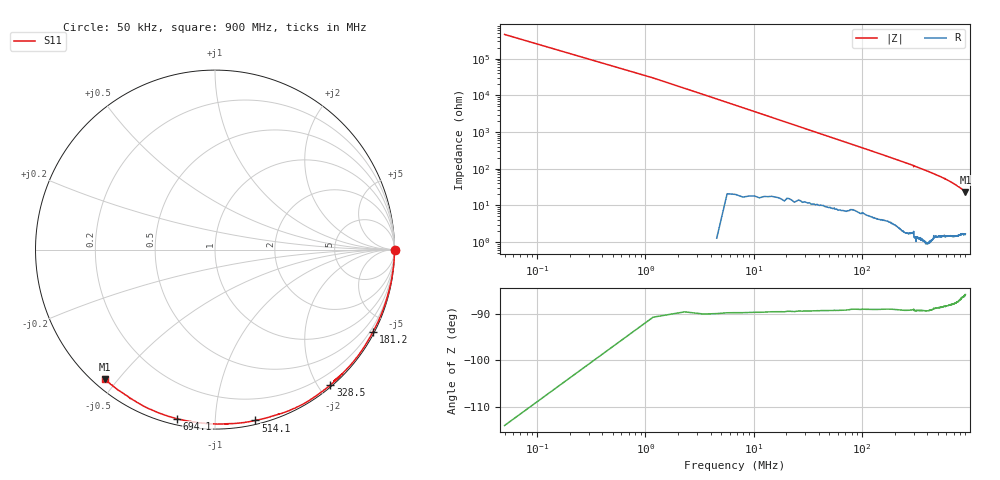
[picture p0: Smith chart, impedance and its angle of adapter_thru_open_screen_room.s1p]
! NanoVNA-App
! Date: 2026-10-30 14:18:24
! Start: 50kHz Stop: 900MHz Points: 801
! S-Parameter data: F S11
# Hz S RI R 50
!  Frequency  S11_Real  S11_Imag
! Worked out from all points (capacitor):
!   801 points, 50 kHz to 900 MHz, reference 50 ohm
!   read as one part to ground: C = 4.36 pF near 4.55 MHz
!   lowest |Z| = 23.3 ohm at 900 MHz (marker M1)
!   S11 on the Smith chart (normalised r, x): 50 kHz: open; 181.2 MHz: 0.07, -4.10; 328.5 MHz: 0.03, -2.17; 514.1 MHz: 0.03, -1.26; 694.1 MHz: 0.03, -0.80; 900 MHz: 0.03, -0.46
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50000  1 -0.000199
4549750  0.9999 -0.0125
2.70485e7  0.9966 -0.0729
5.629688e7  0.9868 -0.1502
1.125438e8  0.9511 -0.2933
1.44042e8  0.9226 -0.3701
1.811649e8  0.8807 -0.4569
2.250375e8  0.8229 -0.5545
2.745348e8  0.7445 -0.6549
2.936587e8  0.7102 -0.6896
2.959086e8  0.7064 -0.6936
3.037831e8  0.6919 -0.7108
3.06033e8  0.6875 -0.715
3.285318e8  0.6428 -0.7536
3.375312e8  0.6252 -0.7685
3.881534e8  0.5198 -0.8437
4.129021e8  0.4657 -0.8737
4.50025e8  0.3772 -0.9101
5.141464e8  0.2253 -0.9518
5.625188e8  0.1073 -0.9688
5.838926e8  0.0727 -0.9714
6.165158e8  -0.0236 -0.9707
6.750125e8  -0.1652 -0.9526
6.941364e8  -0.2107 -0.9429
7.436337e8  -0.3231 -0.9057
7.875062e8  -0.414 -0.8629
8.223793e8  -0.4797 -0.8233
9e8  -0.6111 -0.7235
